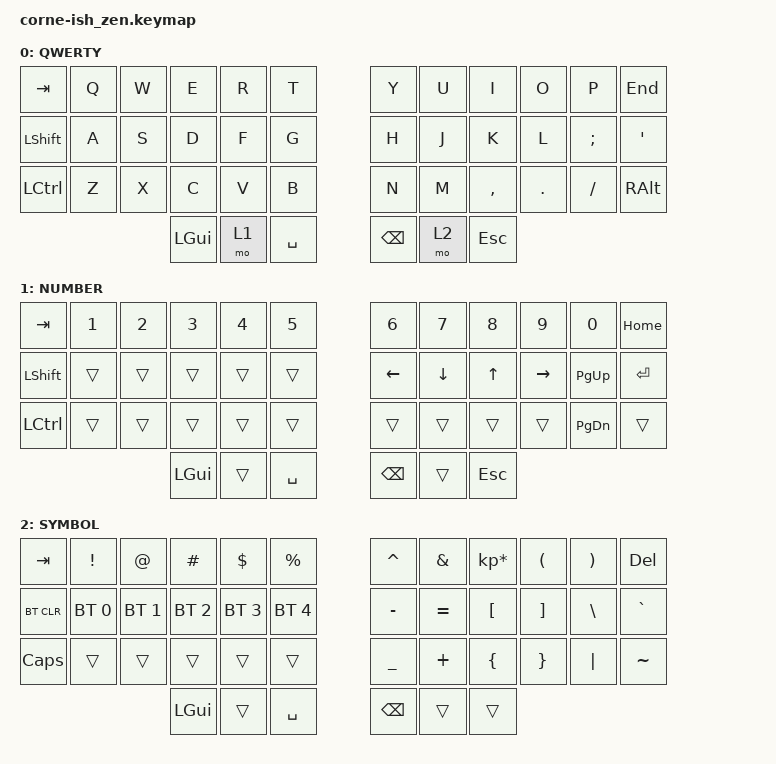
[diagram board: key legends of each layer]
/*
*
* Copyright (c) 2021 Darryl deHaan
* SPDX-License-Identifier: MIT
*
*/

#include <behaviors.dtsi>
#include <dt-bindings/zmk/keys.h>
#include <dt-bindings/zmk/bt.h>

/ {
        keymap {
                compatible = "zmk,keymap";

                default_layer {
                        label = "QWERTY";
// -----------------------------------------------------------------------------------------
// |  TAB |  Q  |  W  |  E  |  R  |  T  |   |  Y  |  U   |  I  |  O  |  P  | END  |
// | SHFT |  A  |  S  |  D  |  F  |  G  |   |  H  |  J   |  K  |  L  |  ;  | '    |
// | CTRL |  Z  |  X  |  C  |  V  |  B  |   |  N  |  M   |  ,  |  .  |  /  | ALT  |
//                    | GUI | LWR | SPC |   | BSPC| RSE  | ESC |
                        bindings = <
   &kp TAB   &kp Q &kp W &kp E &kp R &kp T   &kp Y &kp U  &kp I     &kp O   &kp P    &kp END
   &kp LSHFT &kp A &kp S &kp D &kp F &kp G   &kp H &kp J  &kp K     &kp L   &kp SEMI &kp SQT
   &kp LCTRL &kp Z &kp X &kp C &kp V &kp B   &kp N &kp M  &kp COMMA &kp DOT &kp FSLH &kp RALT
                  &kp LGUI &mo 1 &kp SPACE   &kp BSPC &mo 2 &kp ESC
                        >;
                };
                lower_layer {
                        label = "NUMBER";
// -----------------------------------------------------------------------------------------
// |  TAB |  1  |  2  |  3  |  4  |  5  |   |  6  |  7  |  8  |  9  |  0  | HOME |
// | SHFT |     |     |     |     |     |   | LFT | DWN |  UP | RGT |PG_UP| ENT  |
// | CTRL |     |     |     |     |     |   |     |     |     |     |PG_DN|      |
//                    | GUI |     | SPC |   | BSPC|     | ESC |
                        bindings = <
   &kp TAB    &kp N1    &kp N2     &kp N3     &kp N4     &kp N5     &kp N6   &kp N7   &kp N8 &kp N9    &kp N0     &kp HOME
   &kp LSHFT  &trans    &trans     &trans     &trans     &trans     &kp LEFT &kp DOWN &kp UP &kp RIGHT &kp PG_UP  &kp RET
   &kp LCTRL  &trans     &trans    &trans     &trans     &trans     &trans   &trans   &trans &trans    &kp PG_DN  &trans
                          	   &kp LGUI   &trans     &kp SPACE  &kp BSPC &trans   &kp ESC
                        >;
                };
                raise_layer {
                        label = "SYMBOL";
// -----------------------------------------------------------------------------------------
// |  TAB |  !  |  @  |  #  |  $  |  %  |   |  ^  |  &  |  *  |  (  |  )  | DEL  |
// |BTCLR | BT1 | BT2 | BT3 | BT4 | BT5 |   |  -  |  =  |  [  |  ]  |  \  |  `   |
// | CLCK |     |     |     |     |     |   |  _  |  +  |  {  |  }  | "|" |  ~   |
//                    | GUI |     | SPC |   | BSPC|     |     |
                        bindings = <
   &kp TAB   &kp EXCL     &kp AT       &kp HASH     &kp DLLR     &kp PRCNT     &kp CARET &kp AMPS  &kp KP_MULTIPLY &kp LPAR &kp RPAR &kp DEL
   &bt BT_CLR &bt BT_SEL 0 &bt BT_SEL 1 &bt BT_SEL 2 &bt BT_SEL 3 &bt BT_SEL 4  &kp MINUS &kp EQUAL &kp LBKT        &kp RBKT &kp BSLH &kp GRAVE
   &kp CLCK  &trans       &trans       &trans       &trans       &trans        &kp UNDER &kp PLUS  &kp LBRC        &kp RBRC &kp PIPE &kp TILDE
                    	               &kp LGUI     &trans       &kp SPACE     &kp BSPC  &trans    &trans
                        >;
                };
        };
};
